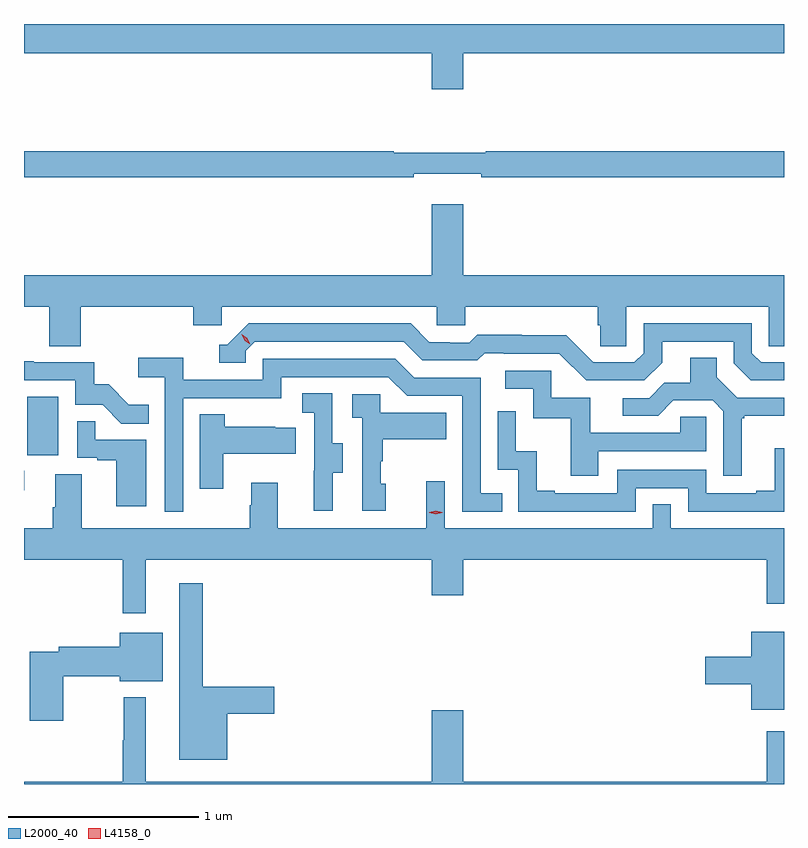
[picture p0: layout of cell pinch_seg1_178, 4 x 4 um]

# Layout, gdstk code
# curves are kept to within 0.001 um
import gdstk
lib = gdstk.Library(unit=1e-6, precision=1e-09)
def R(c, l, rs):  # rectangles x0, y0, x1, y1
    for r in rs: c.add(gdstk.rectangle(r[:2], r[2:], *l))
def P(c, l, *ps):  # polygons
    for p in ps: c.add(gdstk.Polygon(p, *l))
L2000_40 = (2000, 40)
L4158_0 = (4158, 0)

pinch_seg1_178 = lib.new_cell('pinch_seg1_178')
R(pinch_seg1_178, L2000_40, [(1097.925,561.42,1097.926,561.525), (1097.942,561.606,1098.106,561.913)])
P(pinch_seg1_178, L2000_40, [(1100.236,563.72),(1101.925,563.72),(1101.925,563.875),(1097.925,563.875),(1097.925,563.72),(1100.072,563.72),(1100.072,563.532),(1100.236,563.532)],
  [(1099.976,563.087),(1100.332,563.087),(1100.332,563.068),(1101.925,563.068),(1101.925,563.204),(1100.355,563.204),(1100.355,563.197),(1099.87,563.197),(1099.87,563.204),(1097.925,563.204),(1097.925,563.068),(1099.976,563.068)],
  [(1098.224,562.388),(1098.815,562.388),(1098.815,562.29),(1098.966,562.29),(1098.966,562.388),(1100.097,562.388),(1100.097,562.29),(1100.247,562.29),(1100.247,562.388),(1100.945,562.388),(1100.945,562.29),(1100.959,562.29),(1100.959,562.18),(1101.096,562.18),(1101.096,562.388),(1101.846,562.388),(1101.846,562.18),(1101.925,562.18),(1101.925,562.552),(1100.236,562.552),(1100.236,562.927),(1100.072,562.927),(1100.072,562.552),(1097.925,562.552),(1097.925,562.388),(1098.059,562.388),(1098.059,562.18),(1098.224,562.18)],
  [(1101.283,562.093),(1101.283,562.203),(1101.66,562.203),(1101.66,562.089),(1101.75,561.999),(1101.925,561.999),(1101.925,562.095),(1101.804,562.095),(1101.756,562.143),(1101.756,562.299),(1101.186,562.299),(1101.186,562.143),(1101.138,562.095),(1100.922,562.095),(1100.78,562.237),(1100.544,562.237),(1100.544,562.24),(1100.311,562.24),(1100.269,562.197),(1100.166,562.197),(1100.166,562.2),(1100.059,562.2),(1099.96,562.299),(1099.107,562.299),(1098.996,562.188),(1098.953,562.188),(1098.953,562.092),(1099.092,562.092),(1099.092,562.155),(1099.14,562.203),(1099.923,562.203),(1100.022,562.104),(1100.311,562.104),(1100.35,562.143),(1100.449,562.143),(1100.449,562.14),(1100.742,562.14),(1100.883,561.999),(1101.189,561.999)],
  [(1101.703,561.801),(1101.715,561.801),(1101.715,561.812),(1101.925,561.812),(1101.925,561.909),(1101.678,561.909),(1101.571,562.016),(1101.571,562.118),(1101.431,562.118),(1101.431,561.986),(1101.296,561.986),(1101.216,561.906),(1101.075,561.906),(1101.075,561.813),(1101.262,561.813),(1101.343,561.894),(1101.549,561.894),(1101.606,561.837),(1101.606,561.498),(1101.703,561.498)],
  [(1098.762,561.906),(1099.278,561.905),(1099.278,562.017),(1099.842,562.017),(1099.941,561.918),(1100.232,561.918),(1100.232,561.309),(1100.441,561.309),(1100.441,561.405),(1100.328,561.405),(1100.328,562.014),(1099.978,562.014),(1099.879,562.113),(1099.182,562.113),(1099.182,562.002),(1098.764,562.002),(1098.764,562.118),(1098.525,562.118),(1098.525,562.016),(1098.666,562.016),(1098.666,561.309),(1098.762,561.309)],
  [(1098.581,561.871),(1098.477,561.871),(1098.37,561.978),(1098.294,561.978),(1098.294,562.095),(1097.975,562.095),(1097.975,562.1),(1097.925,562.1),(1097.925,561.999),(1098.195,561.999),(1098.195,561.87),(1098.339,561.87),(1098.437,561.772),(1098.581,561.772)],
  [(1100.947,561.627),(1101.516,561.627),(1101.516,561.807),(1101.379,561.807),(1101.379,561.723),(1100.905,561.723),(1100.905,561.909),(1100.7,561.909),(1100.7,562.05),(1100.457,562.05),(1100.457,561.954),(1100.604,561.954),(1100.604,561.801),(1100.803,561.801),(1100.803,561.498),(1100.947,561.498)],
  [(1099.549,561.514),(1099.603,561.514),(1099.603,561.669),(1099.548,561.669),(1099.548,561.932),(1099.389,561.932),(1099.389,561.829),(1099.452,561.829),(1099.452,561.525),(1099.451,561.525),(1099.451,561.312),(1099.549,561.312)],
  [(1099.828,561.456),(1099.803,561.456),(1099.803,561.575),(1099.813,561.575),(1099.813,561.689),(1100.147,561.689),(1100.147,561.829),(1099.8,561.829),(1099.8,561.927),(1099.653,561.927),(1099.653,561.803),(1099.704,561.803),(1099.704,561.312),(1099.828,561.312)],
  [(1101.144,561.432),(1101.42,561.432),(1101.42,561.309),(1101.925,561.309),(1101.925,561.643),(1101.875,561.643),(1101.875,561.418),(1101.779,561.418),(1101.779,561.405),(1101.516,561.405),(1101.516,561.528),(1101.048,561.528),(1101.048,561.405),(1100.719,561.405),(1100.719,561.418),(1100.624,561.418),(1100.624,561.626),(1100.514,561.626),(1100.514,561.838),(1100.418,561.838),(1100.418,561.528),(1100.526,561.528),(1100.526,561.309),(1101.144,561.309)],
  [(1098.973,561.614),(1099.355,561.614),(1099.355,561.751),(1099.247,561.751),(1099.247,561.754),(1098.981,561.754),(1098.981,561.821),(1098.851,561.821),(1098.851,561.429),(1098.973,561.429)],
  [(1098.568,561.687),(1098.299,561.687),(1098.299,561.785),(1098.204,561.785),(1098.204,561.591),(1098.311,561.591),(1098.311,561.579),(1098.41,561.579),(1098.41,561.336),(1098.568,561.336)],
  [(1098.565,561.056),(1100.072,561.056),(1100.072,560.868),(1100.236,560.868),(1100.236,561.056),(1101.835,561.056),(1101.835,560.823),(1101.925,560.823),(1101.925,561.22),(1101.33,561.22),(1101.33,561.347),(1101.234,561.347),(1101.234,561.22),(1100.139,561.22),(1100.139,561.469),(1100.042,561.469),(1100.042,561.22),(1099.261,561.22),(1099.261,561.46),(1099.121,561.46),(1099.121,561.341),(1099.114,561.341),(1099.114,561.22),(1098.229,561.22),(1098.229,561.506),(1098.089,561.506),(1098.089,561.332),(1098.077,561.332),(1098.077,561.22),(1097.925,561.22),(1097.925,561.056),(1098.444,561.056),(1098.444,560.775),(1098.565,560.775)],
  [(1098.994,560.245),(1099.243,560.245),(1099.243,560.387),(1098.865,560.387),(1098.865,560.932),(1098.743,560.932),(1098.743,560.003),(1098.994,560.003)],
  [(1101.925,560.677),(1101.752,560.677),(1101.752,560.546),(1101.51,560.546),(1101.51,560.399),(1101.752,560.399),(1101.752,560.267),(1101.925,560.267)],
  [(1098.132,560.443),(1098.428,560.443),(1098.428,560.417),(1098.655,560.417),(1098.655,560.671),(1098.428,560.671),(1098.428,560.598),(1098.107,560.598),(1098.107,560.572),(1097.954,560.572),(1097.954,560.208),(1098.132,560.208)],
  [(1101.925,560.152),(1101.835,560.152),(1101.835,559.888),(1100.236,559.888),(1100.236,560.263),(1100.072,560.263),(1100.072,559.888),(1098.565,559.888),(1098.565,560.332),(1098.451,560.332),(1098.451,560.105),(1098.444,560.105),(1098.444,559.888),(1097.925,559.888),(1097.925,559.875),(1101.925,559.875)])
P(pinch_seg1_178, L4158_0, [(1099.117,562.19),(1099.086,562.209),(1099.07,562.241),(1099.07,562.242),(1099.07,562.242),(1099.101,562.222),(1099.117,562.19),(1099.117,562.19)],
  [(1100.092,561.294),(1100.057,561.303),(1100.057,561.304),(1100.057,561.304),(1100.092,561.314),(1100.127,561.304),(1100.127,561.304),(1100.127,561.303)])

lib.write_gds('pinch_seg1_178.gds')
